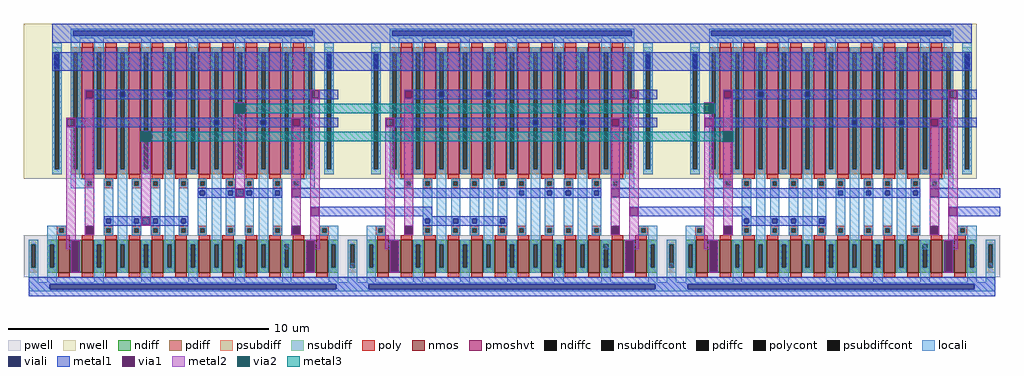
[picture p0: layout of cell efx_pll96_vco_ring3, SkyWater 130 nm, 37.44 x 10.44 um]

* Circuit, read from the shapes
.subckt efx_pll96_vco_ring3 gnd vdd
XM1 efx_pll96_vco_dlycell_1/inn gnd gnd gnd sky130_fd_pr__nfet_01v8 w=1.26 l=0.44
XM2 gnd efx_pll96_vco_dlycell_1/inp efx_pll96_vco_dlycell_1/inn gnd sky130_fd_pr__nfet_01v8 w=1.26 l=0.44
XM3 efx_pll96_vco_dlycell_1/inp efx_pll96_vco_dlycell_0/inp gnd gnd sky130_fd_pr__nfet_01v8 w=1.26 l=0.44 m=4
XM4 efx_pll96_vco_dlycell_1/inn efx_pll96_vco_dlycell_0/inn gnd gnd sky130_fd_pr__nfet_01v8 w=1.26 l=0.44 m=4
XM5 efx_pll96_vco_dlycell_1/inp efx_pll96_vco_dlycell_1/inn gnd gnd sky130_fd_pr__nfet_01v8 w=1.26 l=0.44
XM6 gnd gnd efx_pll96_vco_dlycell_1/inp gnd sky130_fd_pr__nfet_01v8 w=1.26 l=0.44
XM7 efx_pll96_vco_dlycell_2/inn gnd gnd gnd sky130_fd_pr__nfet_01v8 w=1.26 l=0.44
XM8 gnd efx_pll96_vco_dlycell_2/inp efx_pll96_vco_dlycell_2/inn gnd sky130_fd_pr__nfet_01v8 w=1.26 l=0.44
XM9 efx_pll96_vco_dlycell_2/inp efx_pll96_vco_dlycell_1/inp gnd gnd sky130_fd_pr__nfet_01v8 w=1.26 l=0.44 m=4
XM10 efx_pll96_vco_dlycell_2/inn efx_pll96_vco_dlycell_1/inn gnd gnd sky130_fd_pr__nfet_01v8 w=1.26 l=0.44 m=4
XM11 efx_pll96_vco_dlycell_2/inp efx_pll96_vco_dlycell_2/inn gnd gnd sky130_fd_pr__nfet_01v8 w=1.26 l=0.44
XM12 gnd gnd efx_pll96_vco_dlycell_2/inp gnd sky130_fd_pr__nfet_01v8 w=1.26 l=0.44
XM13 efx_pll96_vco_dlycell_0/inn gnd gnd gnd sky130_fd_pr__nfet_01v8 w=1.26 l=0.44
XM14 gnd efx_pll96_vco_dlycell_0/inp efx_pll96_vco_dlycell_0/inn gnd sky130_fd_pr__nfet_01v8 w=1.26 l=0.44
XM15 efx_pll96_vco_dlycell_0/inp efx_pll96_vco_dlycell_2/inp gnd gnd sky130_fd_pr__nfet_01v8 w=1.26 l=0.44 m=4
XM16 efx_pll96_vco_dlycell_0/inn efx_pll96_vco_dlycell_2/inn gnd gnd sky130_fd_pr__nfet_01v8 w=1.26 l=0.44 m=4
XM17 efx_pll96_vco_dlycell_0/inp efx_pll96_vco_dlycell_0/inn gnd gnd sky130_fd_pr__nfet_01v8 w=1.26 l=0.44
XM18 gnd gnd efx_pll96_vco_dlycell_0/inp gnd sky130_fd_pr__nfet_01v8 w=1.26 l=0.44
XM19 efx_pll96_vco_dlycell_0/vhi efx_pll96_vco_dlycell_0/vhi efx_pll96_vco_dlycell_0/vhi vdd sky130_fd_pr__pfet_01v8_hvt w=4.86 l=0.44 m=6
XM20 efx_pll96_vco_dlycell_1/inp efx_pll96_vco_dlycell_0/inp efx_pll96_vco_dlycell_0/vhi vdd sky130_fd_pr__pfet_01v8_hvt w=4.86 l=0.44 m=4
XM21 efx_pll96_vco_dlycell_1/inn efx_pll96_vco_dlycell_0/inn efx_pll96_vco_dlycell_0/vhi vdd sky130_fd_pr__pfet_01v8_hvt w=4.86 l=0.44 m=4
XM22 efx_pll96_vco_dlycell_2/inp efx_pll96_vco_dlycell_1/inp efx_pll96_vco_dlycell_0/vhi vdd sky130_fd_pr__pfet_01v8_hvt w=4.86 l=0.44 m=4
XM23 efx_pll96_vco_dlycell_2/inn efx_pll96_vco_dlycell_1/inn efx_pll96_vco_dlycell_0/vhi vdd sky130_fd_pr__pfet_01v8_hvt w=4.86 l=0.44 m=4
XM24 efx_pll96_vco_dlycell_0/inp efx_pll96_vco_dlycell_2/inp efx_pll96_vco_dlycell_0/vhi vdd sky130_fd_pr__pfet_01v8_hvt w=4.86 l=0.44 m=4
XM25 efx_pll96_vco_dlycell_0/inn efx_pll96_vco_dlycell_2/inn efx_pll96_vco_dlycell_0/vhi vdd sky130_fd_pr__pfet_01v8_hvt w=4.86 l=0.44 m=4
.ends

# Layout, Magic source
magic
tech sky130A
magscale 1 2
<< nwell >>
rect 1332 972 8640 2160
<< metal1 >>
rect 1548 2016 8604 2160
rect 1548 1800 8604 1944
rect 2952 894 3024 900
rect 2952 834 2958 894
rect 3018 834 3024 894
rect 2952 828 3024 834
rect 3384 894 5184 900
rect 3384 834 3390 894
rect 3450 834 5184 894
rect 3384 828 5184 834
rect 5832 894 7812 900
rect 5832 834 5838 894
rect 5898 834 7812 894
rect 5832 828 7812 834
rect 8280 894 8820 900
rect 8280 834 8286 894
rect 8346 834 8820 894
rect 8280 828 8820 834
rect 3528 750 4464 756
rect 3528 690 3534 750
rect 3594 690 4464 750
rect 3528 684 4464 690
rect 5976 750 6912 756
rect 5976 690 5982 750
rect 6042 690 6912 750
rect 5976 684 6912 690
rect 8424 750 8820 756
rect 8424 690 8430 750
rect 8490 690 8820 750
rect 8424 684 8820 690
rect 2232 678 2304 684
rect 2232 618 2238 678
rect 2298 618 2304 678
rect 2232 612 2304 618
<< via1 >>
rect 2958 834 3018 894
rect 3390 834 3450 894
rect 5838 834 5898 894
rect 8286 834 8346 894
rect 3534 690 3594 750
rect 5982 690 6042 750
rect 8430 690 8490 750
rect 2238 618 2298 678
<< metal2 >>
rect 2952 1548 3024 1558
rect 2232 1332 2304 1342
rect 2232 678 2304 1260
rect 2952 894 3024 1476
rect 6552 1548 6624 1558
rect 6552 1250 6624 1476
rect 8424 1466 8496 1558
rect 6696 1332 6768 1342
rect 6696 1250 6768 1260
rect 2952 834 2958 894
rect 3018 834 3024 894
rect 2952 828 3024 834
rect 3384 894 3456 900
rect 3384 834 3390 894
rect 3450 834 3456 894
rect 3384 828 3456 834
rect 5832 894 5904 900
rect 5832 834 5838 894
rect 5898 834 5904 894
rect 5832 828 5904 834
rect 8280 894 8352 900
rect 8280 834 8286 894
rect 8346 834 8352 894
rect 8280 828 8352 834
rect 3528 750 3600 756
rect 3528 690 3534 750
rect 3594 690 3600 750
rect 3528 684 3600 690
rect 5976 750 6048 756
rect 5976 690 5982 750
rect 6042 690 6048 750
rect 5976 684 6048 690
rect 8424 750 8496 756
rect 8424 690 8430 750
rect 8490 690 8496 750
rect 8424 684 8496 690
rect 2232 618 2238 678
rect 2298 618 2304 678
rect 2232 612 2304 618
<< via2 >>
rect 2952 1476 3024 1548
rect 2232 1260 2304 1332
rect 6552 1476 6624 1548
rect 6696 1260 6768 1332
<< metal3 >>
rect 2942 1548 3034 1553
rect 6542 1548 6634 1553
rect 2942 1476 2952 1548
rect 3024 1476 6552 1548
rect 6624 1476 6634 1548
rect 2942 1471 3034 1476
rect 6542 1471 6634 1476
rect 2222 1332 2314 1337
rect 6686 1332 6778 1337
rect 2222 1260 2232 1332
rect 2304 1260 6696 1332
rect 6768 1260 6778 1332
rect 2222 1255 2314 1260
rect 6686 1255 6778 1260
use efx_pll96_vco_dlycell  efx_pll96_vco_dlycell_0
transform 1 0 1080 0 1 360
box 252 -288 2844 1800
use efx_pll96_vco_dlycell  efx_pll96_vco_dlycell_1
transform 1 0 3528 0 1 360
box 252 -288 2844 1800
use efx_pll96_vco_dlycell  efx_pll96_vco_dlycell_2
transform 1 0 5976 0 1 360
box 252 -288 2844 1800
<< end >>

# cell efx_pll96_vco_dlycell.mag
magic
tech sky130A
magscale 1 2
<< poly >>
rect 720 593 792 612
rect 720 559 739 593
rect 773 559 792 593
rect 720 540 792 559
rect 864 593 936 612
rect 864 559 883 593
rect 917 559 936 593
rect 864 540 936 559
rect 1080 593 1152 612
rect 1080 559 1099 593
rect 1133 559 1152 593
rect 1080 540 1152 559
rect 1224 593 1296 612
rect 1224 559 1243 593
rect 1277 559 1296 593
rect 1224 540 1296 559
rect 1440 593 1512 612
rect 1440 559 1459 593
rect 1493 559 1512 593
rect 1440 540 1512 559
rect 1584 593 1656 612
rect 1584 559 1603 593
rect 1637 559 1656 593
rect 1584 540 1656 559
rect 1800 593 1872 612
rect 1800 559 1819 593
rect 1853 559 1872 593
rect 1800 540 1872 559
rect 1944 593 2016 612
rect 1944 559 1963 593
rect 1997 559 2016 593
rect 1944 540 2016 559
rect 2160 593 2232 612
rect 2160 559 2179 593
rect 2213 559 2232 593
rect 2160 540 2232 559
rect 2304 593 2376 612
rect 2304 559 2323 593
rect 2357 559 2376 593
rect 2304 540 2376 559
rect 504 233 576 252
rect 504 199 523 233
rect 557 199 576 233
rect 504 180 576 199
rect 720 233 792 252
rect 720 199 739 233
rect 773 199 792 233
rect 720 180 792 199
rect 864 233 936 252
rect 864 199 883 233
rect 917 199 936 233
rect 864 180 936 199
rect 1080 233 1152 252
rect 1080 199 1099 233
rect 1133 199 1152 233
rect 1080 180 1152 199
rect 1224 233 1296 252
rect 1224 199 1243 233
rect 1277 199 1296 233
rect 1224 180 1296 199
rect 1440 233 1512 252
rect 1440 199 1459 233
rect 1493 199 1512 233
rect 1440 180 1512 199
rect 1584 233 1656 252
rect 1584 199 1603 233
rect 1637 199 1656 233
rect 1584 180 1656 199
rect 1800 233 1872 252
rect 1800 199 1819 233
rect 1853 199 1872 233
rect 1800 180 1872 199
rect 1944 233 2016 252
rect 1944 199 1963 233
rect 1997 199 2016 233
rect 1944 180 2016 199
rect 2160 233 2232 252
rect 2160 199 2179 233
rect 2213 199 2232 233
rect 2160 180 2232 199
rect 2304 233 2376 252
rect 2304 199 2323 233
rect 2357 199 2376 233
rect 2304 180 2376 199
rect 2520 233 2592 252
rect 2520 199 2539 233
rect 2573 199 2592 233
rect 2520 180 2592 199
<< polycont >>
rect 739 559 773 593
rect 883 559 917 593
rect 1099 559 1133 593
rect 1243 559 1277 593
rect 1459 559 1493 593
rect 1603 559 1637 593
rect 1819 559 1853 593
rect 1963 559 1997 593
rect 2179 559 2213 593
rect 2323 559 2357 593
rect 523 199 557 233
rect 739 199 773 233
rect 883 199 917 233
rect 1099 199 1133 233
rect 1243 199 1277 233
rect 1459 199 1493 233
rect 1603 199 1637 233
rect 1819 199 1853 233
rect 1963 199 1997 233
rect 2179 199 2213 233
rect 2323 199 2357 233
rect 2539 199 2573 233
<< locali >>
rect 612 1746 2484 1764
rect 612 1710 630 1746
rect 2466 1710 2484 1746
rect 612 1692 2484 1710
rect 468 1566 540 1656
rect 612 1584 684 1692
rect 792 1584 864 1692
rect 1152 1584 1224 1692
rect 1512 1584 1584 1692
rect 1872 1584 1944 1692
rect 2232 1584 2304 1692
rect 2412 1584 2484 1692
rect 468 1458 486 1566
rect 522 1458 540 1566
rect 468 1440 540 1458
rect 2556 1566 2628 1656
rect 2556 1458 2574 1566
rect 2610 1458 2628 1566
rect 2556 1440 2628 1458
rect 972 1278 1044 1296
rect 972 1242 990 1278
rect 1026 1242 1044 1278
rect 972 1224 1044 1242
rect 1332 1278 1404 1296
rect 1332 1242 1350 1278
rect 1386 1242 1404 1278
rect 1332 1224 1404 1242
rect 1692 1062 1764 1080
rect 1692 1026 1710 1062
rect 1746 1026 1764 1062
rect 1692 1008 1764 1026
rect 2052 1062 2124 1080
rect 2052 1026 2070 1062
rect 2106 1026 2124 1062
rect 2052 1008 2124 1026
rect 612 612 684 684
rect 612 593 792 612
rect 612 559 739 593
rect 773 559 792 593
rect 612 540 792 559
rect 864 593 936 612
rect 864 559 883 593
rect 917 559 936 593
rect 864 306 936 559
rect 864 270 882 306
rect 918 270 936 306
rect 432 233 576 252
rect 432 199 523 233
rect 557 199 576 233
rect 432 180 576 199
rect 720 234 792 252
rect 720 198 738 234
rect 774 198 792 234
rect 720 180 792 198
rect 864 233 936 270
rect 864 199 883 233
rect 917 199 936 233
rect 864 180 936 199
rect 432 108 504 180
rect 612 126 684 144
rect 288 -180 360 -72
rect 432 -180 504 -72
rect 612 -90 630 126
rect 666 -90 684 126
rect 972 108 1044 684
rect 1080 593 1152 612
rect 1080 559 1099 593
rect 1133 559 1152 593
rect 1080 306 1152 559
rect 1080 270 1098 306
rect 1134 270 1152 306
rect 1080 233 1152 270
rect 1080 199 1099 233
rect 1133 199 1152 233
rect 1080 180 1152 199
rect 1224 593 1296 612
rect 1224 559 1243 593
rect 1277 559 1296 593
rect 1224 306 1296 559
rect 1224 270 1242 306
rect 1278 270 1296 306
rect 1224 233 1296 270
rect 1224 199 1243 233
rect 1277 199 1296 233
rect 1224 180 1296 199
rect 1332 108 1404 684
rect 1440 593 1512 612
rect 1440 559 1459 593
rect 1493 559 1512 593
rect 1440 306 1512 559
rect 1440 270 1458 306
rect 1494 270 1512 306
rect 1440 233 1512 270
rect 1440 199 1459 233
rect 1493 199 1512 233
rect 1440 180 1512 199
rect 1584 593 1656 612
rect 1584 559 1603 593
rect 1637 559 1656 593
rect 1584 522 1656 559
rect 1584 486 1602 522
rect 1638 486 1656 522
rect 1584 233 1656 486
rect 1584 199 1603 233
rect 1637 199 1656 233
rect 1584 180 1656 199
rect 1692 108 1764 684
rect 1800 593 1872 612
rect 1800 559 1819 593
rect 1853 559 1872 593
rect 1800 522 1872 559
rect 1800 486 1818 522
rect 1854 486 1872 522
rect 1800 233 1872 486
rect 1800 199 1819 233
rect 1853 199 1872 233
rect 1800 180 1872 199
rect 1944 593 2016 612
rect 1944 559 1963 593
rect 1997 559 2016 593
rect 1944 522 2016 559
rect 1944 486 1962 522
rect 1998 486 2016 522
rect 1944 233 2016 486
rect 1944 199 1963 233
rect 1997 199 2016 233
rect 1944 180 2016 199
rect 2052 108 2124 684
rect 2412 612 2484 684
rect 2160 593 2232 612
rect 2160 559 2179 593
rect 2213 559 2232 593
rect 2160 522 2232 559
rect 2304 593 2484 612
rect 2304 559 2323 593
rect 2357 559 2484 593
rect 2304 540 2484 559
rect 2160 486 2178 522
rect 2214 486 2232 522
rect 2160 233 2232 486
rect 2160 199 2179 233
rect 2213 199 2232 233
rect 2160 180 2232 199
rect 2304 234 2376 252
rect 2304 198 2322 234
rect 2358 198 2376 234
rect 2304 180 2376 198
rect 2520 233 2664 252
rect 2520 199 2539 233
rect 2573 199 2664 233
rect 2520 180 2664 199
rect 2232 72 2304 144
rect 2412 126 2484 144
rect 612 -108 684 -90
rect 792 -180 864 -72
rect 1152 -180 1224 -72
rect 1512 -180 1584 -72
rect 1872 -180 1944 -72
rect 2232 -180 2304 -72
rect 2412 -90 2430 126
rect 2466 -90 2484 126
rect 2592 108 2664 180
rect 2412 -108 2484 -90
rect 2592 -180 2664 -72
rect 2736 -180 2808 -36
rect 288 -198 2808 -180
rect 288 -234 450 -198
rect 2646 -234 2808 -198
rect 288 -252 2808 -234
<< viali >>
rect 630 1710 2466 1746
rect 486 1458 522 1566
rect 2574 1458 2610 1566
rect 990 1242 1026 1278
rect 1350 1242 1386 1278
rect 1710 1026 1746 1062
rect 2070 1026 2106 1062
rect 882 270 918 306
rect 738 233 774 234
rect 738 199 739 233
rect 739 199 773 233
rect 773 199 774 233
rect 738 198 774 199
rect 630 -90 666 126
rect 1098 270 1134 306
rect 1242 270 1278 306
rect 1458 270 1494 306
rect 1602 486 1638 522
rect 1818 486 1854 522
rect 1962 486 1998 522
rect 2178 486 2214 522
rect 2322 233 2358 234
rect 2322 199 2323 233
rect 2323 199 2357 233
rect 2357 199 2358 233
rect 2322 198 2358 199
rect 2430 -90 2466 126
rect 450 -234 2646 -198
<< metal1 >>
rect 468 1746 2628 1800
rect 468 1710 630 1746
rect 2466 1710 2628 1746
rect 468 1656 2628 1710
rect 468 1566 2628 1584
rect 468 1458 486 1566
rect 522 1458 2574 1566
rect 2610 1458 2628 1566
rect 468 1440 2628 1458
rect 720 1290 2664 1296
rect 720 1230 726 1290
rect 786 1278 2454 1290
rect 786 1242 990 1278
rect 1026 1242 1350 1278
rect 1386 1242 2454 1278
rect 786 1230 2454 1242
rect 2514 1230 2664 1290
rect 720 1224 2664 1230
rect 576 1074 2664 1080
rect 576 1014 582 1074
rect 642 1062 2310 1074
rect 642 1026 1710 1062
rect 1746 1026 2070 1062
rect 2106 1026 2310 1062
rect 642 1014 2310 1026
rect 2370 1014 2664 1074
rect 576 1008 2664 1014
rect 1584 522 2232 540
rect 1584 486 1602 522
rect 1638 486 1818 522
rect 1854 486 1962 522
rect 1998 486 2178 522
rect 2214 486 2232 522
rect 1584 468 2232 486
rect 864 306 1512 324
rect 864 270 882 306
rect 918 270 1098 306
rect 1134 270 1242 306
rect 1278 270 1458 306
rect 1494 270 1512 306
rect 864 252 1512 270
rect 720 246 792 252
rect 720 186 726 246
rect 786 186 792 246
rect 720 180 792 186
rect 2304 246 2376 252
rect 2304 186 2310 246
rect 2370 186 2376 246
rect 2304 180 2376 186
rect 612 138 684 144
rect 612 -102 618 138
rect 678 -102 684 138
rect 612 -108 684 -102
rect 2412 138 2484 144
rect 2412 -102 2418 138
rect 2478 -102 2484 138
rect 2412 -108 2484 -102
rect 288 -198 2808 -144
rect 288 -234 450 -198
rect 2646 -234 2808 -198
rect 288 -288 2808 -234
<< via1 >>
rect 726 1230 786 1290
rect 2454 1230 2514 1290
rect 582 1014 642 1074
rect 2310 1014 2370 1074
rect 726 234 786 246
rect 726 198 738 234
rect 738 198 774 234
rect 774 198 786 234
rect 726 186 786 198
rect 2310 234 2370 246
rect 2310 198 2322 234
rect 2322 198 2358 234
rect 2358 198 2370 234
rect 2310 186 2370 198
rect 618 126 678 138
rect 618 -90 630 126
rect 630 -90 666 126
rect 666 -90 678 126
rect 618 -102 678 -90
rect 2418 126 2478 138
rect 2418 -90 2430 126
rect 2430 -90 2466 126
rect 2466 -90 2478 126
rect 2418 -102 2478 -90
<< metal2 >>
rect 720 1290 792 1296
rect 720 1230 726 1290
rect 786 1230 792 1290
rect 576 1074 648 1080
rect 576 1014 582 1074
rect 642 1014 648 1074
rect 576 144 648 1014
rect 720 246 792 1230
rect 2448 1290 2520 1296
rect 2448 1230 2454 1290
rect 2514 1230 2520 1290
rect 720 186 726 246
rect 786 186 792 246
rect 720 180 792 186
rect 2304 1074 2376 1080
rect 2304 1014 2310 1074
rect 2370 1014 2376 1074
rect 2304 246 2376 1014
rect 2304 186 2310 246
rect 2370 186 2376 246
rect 2304 180 2376 186
rect 2448 144 2520 1230
rect 576 138 684 144
rect 576 72 618 138
rect 612 -102 618 72
rect 678 -102 684 138
rect 612 -108 684 -102
rect 2412 138 2520 144
rect 2412 -102 2418 138
rect 2478 72 2520 138
rect 2478 -102 2484 72
rect 2412 -108 2484 -102
use nmos_n7_f12_l440_tl_tr  nmos_n7_f12_l440_tl_tr_0
transform 1 0 468 0 1 -108
box -216 -36 2376 288
use pmos_n27_f10_l440_tl_tr_hvt  pmos_n27_f10_l440_tl_tr_hvt_0
transform 1 0 648 0 1 648
box -216 -36 2016 1008
<< labels >>
flabel metal1 468 1656 612 1800 0 FreeSans 288 0 0 0 vhi
port 1 nsew signal bidirectional
flabel metal1 468 1440 612 1584 0 FreeSans 288 0 0 0 vdd
port 2 nsew power bidirectional
flabel metal1 288 -288 432 -144 0 FreeSans 288 0 0 0 gnd
port 3 nsew ground bidirectional
flabel metal1 2592 1008 2664 1080 0 FreeSans 288 0 0 0 outp
port 7 nsew signal output
flabel metal1 2052 468 2124 540 0 FreeSans 288 0 0 0 inn
port 5 nsew signal input
flabel metal1 1332 252 1404 324 0 FreeSans 288 0 0 0 inp
port 4 nsew signal input
flabel metal1 2592 1224 2664 1296 0 FreeSans 288 0 0 0 outn
port 6 nsew signal output
<< end >>

# cell nmos_n7_f12_l440_tl_tr: kit device nmos, n 7 fingers 12 length 0.44 butted 0 ltap 1 rtap 1 vt std tgate 0 bgate 0

# cell pmos_n27_f10_l440_tl_tr_hvt: kit device pmos, n 27 fingers 10 length 0.44 butted 0 ltap 1 rtap 1 vt hvt tgate 0 bgate 0
